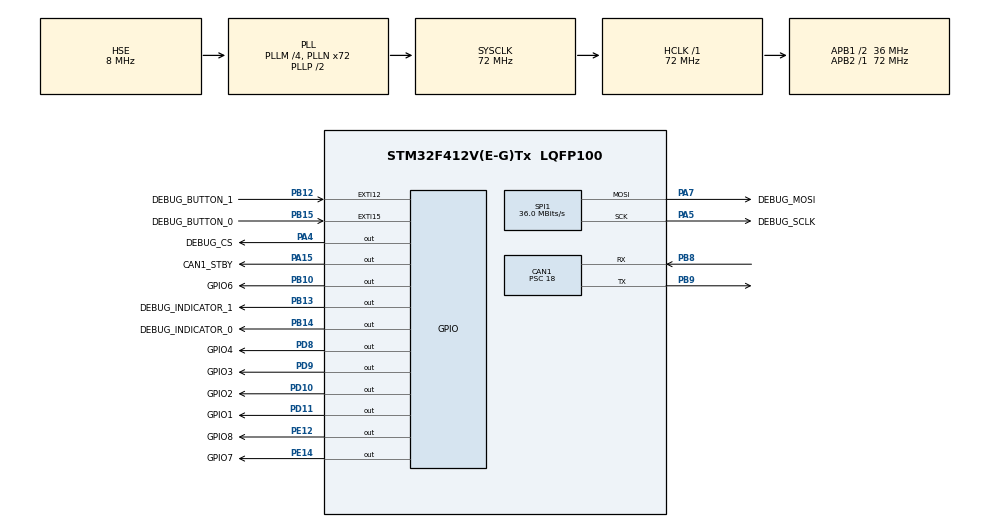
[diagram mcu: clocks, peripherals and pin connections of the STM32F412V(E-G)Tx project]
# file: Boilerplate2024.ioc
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CAN1.BS1=CAN_BS1_2TQ
CAN1.CalculateBaudRate=500000
CAN1.CalculateTimeBit=2000
CAN1.CalculateTimeQuantum=500.0
CAN1.Mode=CAN_MODE_LOOPBACK
CAN1.Prescaler=18
Mcu.Family=STM32F4
Mcu.Name=STM32F412V(E-G)Tx
Mcu.Package=LQFP100
NVIC.EXTI15_10_IRQn=true\:0\:0\:false\:false\:true\:true\:true\:true
NVIC.PriorityGroup=NVIC_PRIORITYGROUP_4
NVIC.SPI1_IRQn=true\:0\:0\:false\:false\:true\:true\:true\:true
NVIC.TIM3_IRQn=true\:0\:0\:false\:false\:true\:true\:true\:true
PA13.Mode=Serial_Wire
PA13.Signal=SYS_JTMS-SWDIO
PA14.Mode=Serial_Wire
PA14.Signal=SYS_JTCK-SWCLK
PA15.GPIO_Label=CAN1_STBY
PA15.Signal=GPIO_Output
PA4.GPIO_Label=DEBUG_CS
PA4.Signal=GPIO_Output
PA5.GPIO_Label=DEBUG_SCLK
PA5.Mode=TX_Only_Simplex_Unidirect_Master
PA5.Signal=SPI1_SCK
PA7.GPIO_Label=DEBUG_MOSI
PA7.Mode=TX_Only_Simplex_Unidirect_Master
PA7.Signal=SPI1_MOSI
PB10.GPIO_Label=GPIO6
PB10.Signal=GPIO_Output
PB12.GPIO_Label=DEBUG_BUTTON_1
PB12.GPIO_ModeDefaultEXTI=GPIO_MODE_IT_RISING_FALLING
PB12.Signal=GPXTI12
PB13.GPIO_Label=DEBUG_INDICATOR_1
PB13.Signal=GPIO_Output
PB14.GPIO_Label=DEBUG_INDICATOR_0
PB14.Signal=GPIO_Output
PB15.GPIO_Label=DEBUG_BUTTON_0
PB15.GPIO_ModeDefaultEXTI=GPIO_MODE_IT_RISING_FALLING
PB15.Signal=GPXTI15
PB8.Mode=CAN_Activate
PB8.Signal=CAN1_RX
PB9.Mode=CAN_Activate
PB9.Signal=CAN1_TX
PD10.GPIO_Label=GPIO2
PD10.Signal=GPIO_Output
PD11.GPIO_Label=GPIO1
PD11.Signal=GPIO_Output
PD8.GPIO_Label=GPIO4
PD8.Signal=GPIO_Output
PD9.GPIO_Label=GPIO3
PD9.Signal=GPIO_Output
PE12.GPIO_Label=GPIO8
PE12.Signal=GPIO_Output
PE14.GPIO_Label=GPIO7
PE14.Signal=GPIO_Output
PH0\ -\ OSC_IN.Mode=HSE-External-Oscillator
PH0\ -\ OSC_IN.Signal=RCC_OSC_IN
PH1\ -\ OSC_OUT.Mode=HSE-External-Oscillator
PH1\ -\ OSC_OUT.Signal=RCC_OSC_OUT
ProjectManager.HeapSize=0x200
ProjectManager.StackSize=0x400
ProjectManager.TargetToolchain=STM32CubeIDE
RCC.AHBFreq_Value=72000000
RCC.APB1CLKDivider=RCC_HCLK_DIV2
RCC.APB1Freq_Value=36000000
RCC.APB1TimFreq_Value=72000000
RCC.APB2Freq_Value=72000000
RCC.APB2TimFreq_Value=72000000
RCC.CortexFreq_Value=72000000
RCC.HCLKFreq_Value=72000000
RCC.HSE_VALUE=8000000
RCC.PLLM=4
RCC.PLLN=72
RCC.PLLQ=3
RCC.PLLSourceVirtual=RCC_PLLSOURCE_HSE
RCC.SYSCLKFreq_VALUE=72000000
RCC.SYSCLKSource=RCC_SYSCLKSOURCE_PLLCLK
RCC.USBFreq_Value=48000000
RCC.VCOOutputFreq_Value=144000000
SPI1.CalculateBaudRate=36.0 MBits/s
SPI1.Direction=SPI_DIRECTION_2LINES
SPI1.FirstBit=SPI_FIRSTBIT_MSB
SPI1.Mode=SPI_MODE_MASTER
SPI1.VirtualType=VM_MASTER
VP_TIM3_VS_ClockSourceINT.Mode=Internal
board=custom

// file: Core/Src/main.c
/* USER CODE BEGIN Header */
/**
  ******************************************************************************
  * @file           : main.c
  * @brief          : Main program body
  ******************************************************************************
  * @attention
  *
  * Copyright (c) 2024 STMicroelectronics.
  * All rights reserved.
  *
  * This software is licensed under terms that can be found in the LICENSE file
  * in the root directory of this software component.
  * If no LICENSE file comes with this software, it is provided AS-IS.
  *
  ******************************************************************************
  */
/* USER CODE END Header */
#include "main.h"
#include "can.h"
#include "spi.h"
#include "tim.h"
#include "gpio.h"

/* USER CODE BEGIN Includes */
#include "seven_seg.h"
#include "buttons.h"
/* USER CODE END Includes */

/* USER CODE BEGIN PV */
Seven_Seg *seven_seg;
uint8_t num;

CAN_TxHeaderTypeDef   TxHeader;
uint8_t               TxData[8];
uint32_t              TxMailbox;
/* USER CODE END PV */

void SystemClock_Config(void);

/* USER CODE BEGIN 0 */
void HAL_CAN_TxMailbox0CompleteCallback(CAN_HandleTypeDef *hcan) {
  HAL_GPIO_WritePin(DEBUG_INDICATOR_1_GPIO_Port, DEBUG_INDICATOR_1_Pin, GPIO_PIN_SET);
}

void Button_0_Handler(GPIO_PinState state) {
  if (state == GPIO_PIN_RESET) {
      Seven_Seg_Write_Integer(seven_seg, ++num);
        TxHeader.IDE = CAN_ID_STD;
        TxHeader.StdId = 0x5a5;
        TxHeader.RTR = CAN_RTR_DATA;
        TxHeader.DLC = 2;

        TxData[0] = 50;
        TxData[1] = 0xAA;
        if (HAL_CAN_AddTxMessage(&hcan1, &TxHeader, TxData, &TxMailbox) != HAL_OK) {
          HAL_GPIO_WritePin(DEBUG_INDICATOR_0_GPIO_Port, DEBUG_INDICATOR_0_Pin, GPIO_PIN_SET);
        }

        HAL_GPIO_TogglePin(GPIOB, GPIO_PIN_9);

  }
}

void Button_1_Handler(GPIO_PinState state) {
  if (state == GPIO_PIN_RESET) {
      __NOP();
  }
}
/* USER CODE END 0 */

int main(void)
{

  /* MCU Configuration--------------------------------------------------------*/

  /* Reset of all peripherals, Initializes the Flash interface and the Systick. */
  HAL_Init();

  /* Configure the system clock */
  SystemClock_Config();

  /* Initialize all configured peripherals */
  MX_GPIO_Init();
  MX_TIM3_Init();
  MX_SPI1_Init();
  MX_CAN1_Init();
  /* USER CODE BEGIN 2 */
  HAL_CAN_Start(&hcan1);
  HAL_GPIO_WritePin(CAN1_STBY_GPIO_Port, CAN1_STBY_Pin, GPIO_PIN_RESET);

  Shift_Reg *shift_reg = Shift_Reg_SPI_SW_NSS_Init(&hspi1, DEBUG_CS_GPIO_Port, DEBUG_CS_Pin);

  seven_seg = Seven_Seg_Init(shift_reg);
  num = 0;
  Seven_Seg_Write_Integer(seven_seg, num);

//  for (int i = 0; i < 100; i++) {
//      Seven_Seg_Write_Integer(seven_seg, i);
//      HAL_Delay(100);
//
//  }

  Init_Button_Begin(&htim3, 50);
  Init_Button(DEBUG_BUTTON_0_GPIO_Port,
	      DEBUG_BUTTON_0_Pin,
	      GPIO_PIN_SET,
	      Button_0_Handler);
  Init_Button(DEBUG_BUTTON_1_GPIO_Port,
          DEBUG_BUTTON_1_Pin,
          GPIO_PIN_SET,
          Button_1_Handler);
  Init_Button_Finish();
  /* USER CODE END 2 */

  /* Infinite loop */
  while (1)
  {

    /* USER CODE BEGIN 3 */
      __NOP();
  }
  /* USER CODE END 3 */
}

void SystemClock_Config(void)
{
  RCC_OscInitTypeDef RCC_OscInitStruct = {0};
  RCC_ClkInitTypeDef RCC_ClkInitStruct = {0};

  /** Configure the main internal regulator output voltage
  */
  __HAL_RCC_PWR_CLK_ENABLE();
  __HAL_PWR_VOLTAGESCALING_CONFIG(PWR_REGULATOR_VOLTAGE_SCALE1);

  /** Initializes the RCC Oscillators according to the specified parameters
  * in the RCC_OscInitTypeDef structure.
  */
  RCC_OscInitStruct.OscillatorType = RCC_OSCILLATORTYPE_HSE;
  RCC_OscInitStruct.HSEState = RCC_HSE_ON;
  RCC_OscInitStruct.PLL.PLLState = RCC_PLL_ON;
  RCC_OscInitStruct.PLL.PLLSource = RCC_PLLSOURCE_HSE;
  RCC_OscInitStruct.PLL.PLLM = 4;
  RCC_OscInitStruct.PLL.PLLN = 72;
  RCC_OscInitStruct.PLL.PLLP = RCC_PLLP_DIV2;
  RCC_OscInitStruct.PLL.PLLQ = 3;
  RCC_OscInitStruct.PLL.PLLR = 2;
  if (HAL_RCC_OscConfig(&RCC_OscInitStruct) != HAL_OK)
  {
    Error_Handler();
  }

  /** Initializes the CPU, AHB and APB buses clocks
  */
  RCC_ClkInitStruct.ClockType = RCC_CLOCKTYPE_HCLK|RCC_CLOCKTYPE_SYSCLK
                              |RCC_CLOCKTYPE_PCLK1|RCC_CLOCKTYPE_PCLK2;
  RCC_ClkInitStruct.SYSCLKSource = RCC_SYSCLKSOURCE_PLLCLK;
  RCC_ClkInitStruct.AHBCLKDivider = RCC_SYSCLK_DIV1;
  RCC_ClkInitStruct.APB1CLKDivider = RCC_HCLK_DIV2;
  RCC_ClkInitStruct.APB2CLKDivider = RCC_HCLK_DIV1;

  if (HAL_RCC_ClockConfig(&RCC_ClkInitStruct, FLASH_LATENCY_2) != HAL_OK)
  {
    Error_Handler();
  }
}

void Error_Handler(void)
{
  __disable_irq();
  while (1)
  {
  }
}
